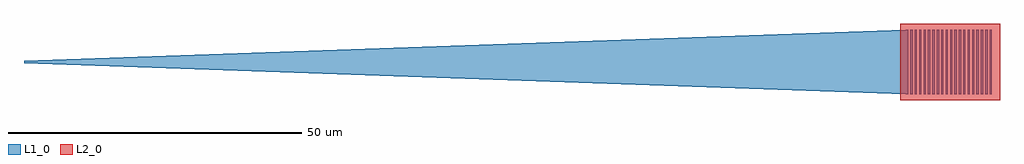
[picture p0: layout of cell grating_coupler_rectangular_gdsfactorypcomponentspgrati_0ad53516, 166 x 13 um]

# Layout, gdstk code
import gdstk
lib = gdstk.Library(unit=1e-6, precision=1e-09)
def R(c, l, rs):  # rectangles x0, y0, x1, y1
    for r in rs: c.add(gdstk.rectangle(r[:2], r[2:], *l))
def A(c, l, x, y, w, h, nx, ny, dx, dy):  # array of equal rectangles
    R(c, l, [(x+i*dx, y+j*dy, x+i*dx+w, y+j*dy+h) for i in range(nx) for j in range(ny)])
def P(c, l, *ps):  # polygons
    for p in ps: c.add(gdstk.Polygon(p, *l))
L1_0 = (1, 0)
L2_0 = (2, 0)

grating_coupler_rectangu = lib.new_cell('grating_coupler_rectangular_gdsfactorypcomponentspgrati_0ad53516')
A(grating_coupler_rectangu, L1_0, 150.75, -5.5, 0.376, 11, 19, 1, 0.75, 0)
P(grating_coupler_rectangu, L1_0, [(150,-5.5),(0,-0.25),(0,0.25),(150,5.5),(150.376,5.5),(150.376,-5.5)])
R(grating_coupler_rectangu, L2_0, [(149,-6.5,166,6.5)])

lib.write_gds('grating_coupler_rectangular_gdsfactorypcomponentspgrati_0ad53516.gds')
